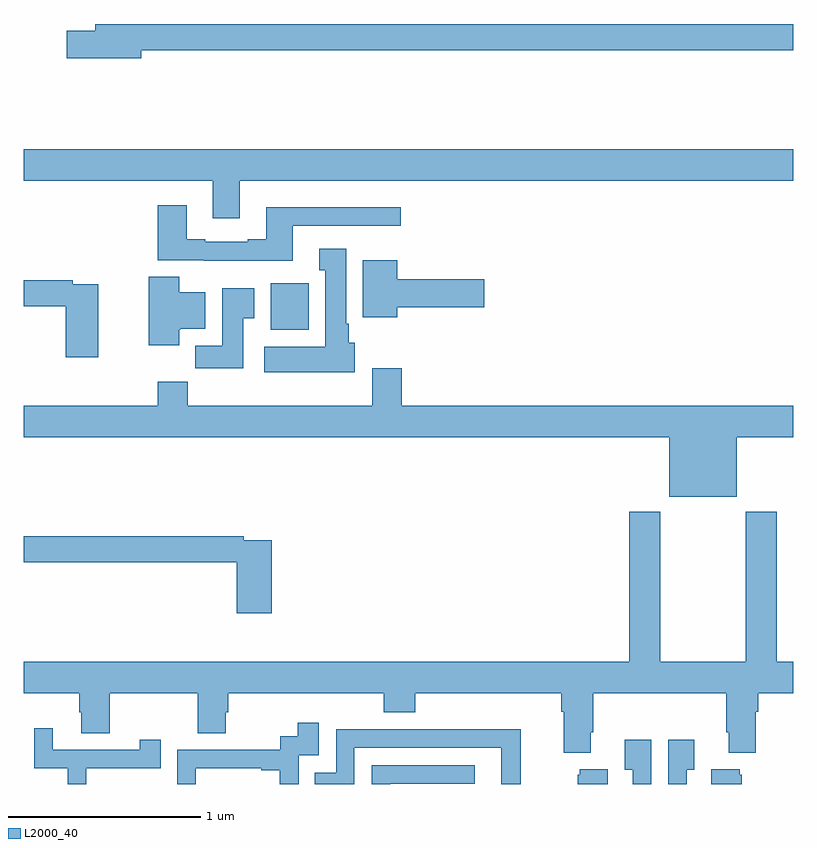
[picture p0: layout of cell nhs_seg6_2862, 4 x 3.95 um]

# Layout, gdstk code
import gdstk
lib = gdstk.Library(unit=1e-6, precision=1e-09)
def R(c, l, rs):  # rectangles x0, y0, x1, y1
    for r in rs: c.add(gdstk.rectangle(r[:2], r[2:], *l))
def P(c, l, *ps):  # polygons
    for p in ps: c.add(gdstk.Polygon(p, *l))
L2000_40 = (2000, 40)

nhs_seg6_2862 = lib.new_cell('nhs_seg6_2862')
R(nhs_seg6_2862, L2000_40, [(280.283,979.862,280.48,980.104)])
P(nhs_seg6_2862, L2000_40, [(279.61,981.316),(283,981.316),(283,981.452),(279.371,981.452),(279.371,981.416),(279.222,981.416),(279.222,981.274),(279.61,981.274)],
  [(280.123,980.636),(283,980.636),(283,980.8),(279,980.8),(279,980.636),(279.983,980.636),(279.983,980.442),(280.123,980.442)],
  [(280.399,980.403),(280.96,980.403),(280.96,980.5),(280.259,980.5),(280.259,980.332),(280.163,980.332),(280.163,980.319),(279.943,980.319),(279.943,980.332),(279.847,980.332),(279.847,980.509),(279.695,980.509),(279.695,980.223),(279.935,980.223),(279.935,980.222),(280.399,980.222)],
  [(280.72,979.794),(280.69,979.794),(280.69,979.894),(280.675,979.894),(280.675,980.284),(280.535,980.284),(280.535,980.171),(280.568,980.171),(280.568,979.774),(280.251,979.774),(280.251,979.64),(280.72,979.64)],
  [(280.942,979.979),(281.395,979.979),(281.395,980.126),(280.942,980.126),(280.942,980.224),(280.763,980.224),(280.763,979.928),(280.942,979.928)],
  [(279.808,979.862),(279.814,979.862),(279.814,979.868),(279.943,979.868),(279.943,980.056),(279.808,980.056),(279.808,980.138),(279.65,980.138),(279.65,979.782),(279.808,979.782)],
  [(279.388,980.1),(279.254,980.1),(279.254,980.12),(279,980.12),(279,979.984),(279.218,979.984),(279.218,979.719),(279.388,979.719)],
  [(280.141,979.921),(280.198,979.921),(280.198,980.077),(280.031,980.077),(280.031,979.78),(279.892,979.78),(279.892,979.662),(280.141,979.662)],
  [(282.706,979.304),(283,979.304),(283,979.468),(280.964,979.468),(280.964,979.663),(280.811,979.663),(280.811,979.468),(279.851,979.468),(279.851,979.592),(279.695,979.592),(279.695,979.468),(279,979.468),(279,979.304),(282.356,979.304),(282.356,978.995),(282.706,978.995)],
  [(281.947,977.77),(281.96,977.77),(281.96,977.972),(282.653,977.972),(282.653,977.77),(282.665,977.77),(282.665,977.663),(282.805,977.663),(282.805,977.876),(282.818,977.876),(282.818,977.972),(283,977.972),(283,978.136),(282.914,978.136),(282.914,978.916),(282.754,978.916),(282.754,978.136),(282.309,978.136),(282.309,978.916),(282.149,978.916),(282.149,978.136),(279,978.136),(279,977.972),(279.287,977.972),(279.287,977.874),(279.299,977.874),(279.299,977.764),(279.447,977.764),(279.447,977.972),(279.904,977.972),(279.904,977.764),(280.051,977.764),(280.051,977.874),(280.064,977.874),(280.064,977.972),(280.871,977.972),(280.871,977.873),(281.036,977.873),(281.036,977.972),(281.795,977.972),(281.795,977.876),(281.807,977.876),(281.807,977.663),(281.947,977.663)],
  [(280.289,978.768),(280.142,978.768),(280.142,978.788),(279,978.788),(279,978.652),(280.106,978.652),(280.106,978.387),(280.289,978.387)],
  [(279.894,977.583),(280.235,977.583),(280.235,977.571),(280.331,977.571),(280.331,977.5),(280.428,977.5),(280.428,977.649),(280.533,977.649),(280.533,977.818),(280.425,977.818),(280.425,977.748),(280.332,977.748),(280.332,977.679),(279.798,977.679),(279.798,977.5),(279.894,977.5)],
  [(279.324,977.583),(279.713,977.583),(279.713,977.731),(279.602,977.731),(279.602,977.679),(279.151,977.679),(279.151,977.791),(279.054,977.791),(279.054,977.583),(279.228,977.583),(279.228,977.5),(279.324,977.5)],
  [(280.719,977.688),(281.483,977.688),(281.483,977.5),(281.583,977.5),(281.583,977.786),(281.119,977.786),(281.119,977.784),(280.623,977.784),(280.623,977.559),(280.513,977.559),(280.513,977.5),(280.719,977.5)],
  [(282.261,977.731),(282.125,977.731),(282.125,977.575),(282.165,977.575),(282.165,977.5),(282.261,977.5)],
  [(282.447,977.575),(282.487,977.575),(282.487,977.731),(282.351,977.731),(282.351,977.5),(282.447,977.5)],
  [(280.905,977.502),(281.344,977.502),(281.344,977.598),(280.809,977.598),(280.809,977.5),(280.905,977.5)],
  [(282.733,977.547),(282.722,977.547),(282.722,977.578),(282.575,977.578),(282.575,977.5),(282.733,977.5)],
  [(282.037,977.578),(281.891,977.578),(281.891,977.547),(281.879,977.547),(281.879,977.5),(282.037,977.5)])

lib.write_gds('nhs_seg6_2862.gds')
